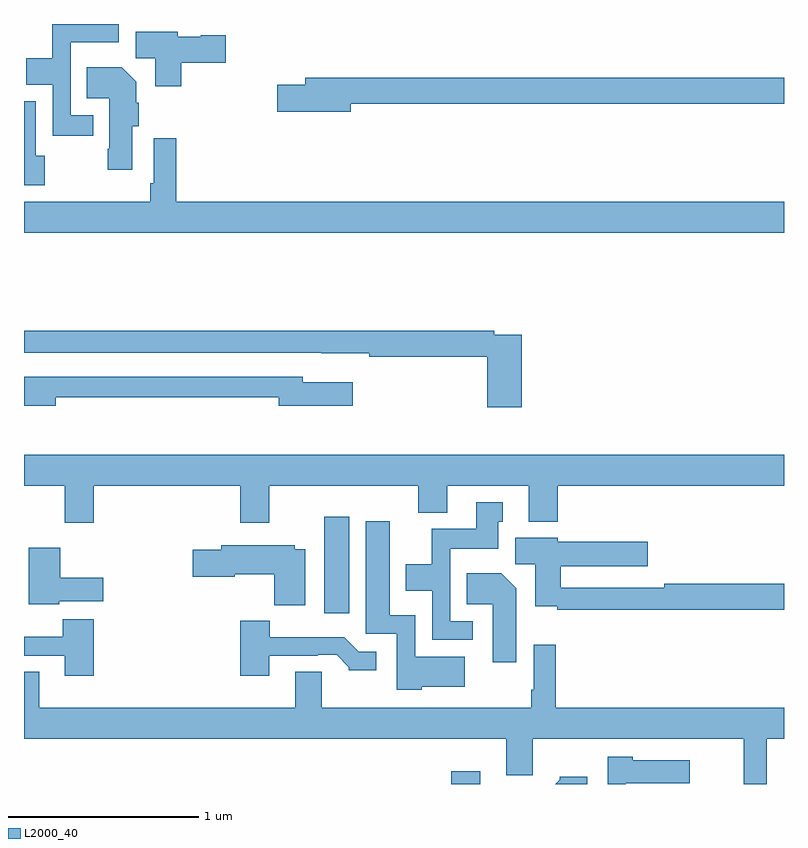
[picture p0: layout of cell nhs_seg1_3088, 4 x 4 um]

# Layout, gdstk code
import gdstk
lib = gdstk.Library(unit=1e-6, precision=1e-09)
def R(c, l, rs):  # rectangles x0, y0, x1, y1
    for r in rs: c.add(gdstk.rectangle(r[:2], r[2:], *l))
def P(c, l, *ps):  # polygons
    for p in ps: c.add(gdstk.Polygon(p, *l))
L2000_40 = (2000, 40)

nhs_seg1_3088 = lib.new_cell('nhs_seg1_3088')
R(nhs_seg1_3088, L2000_40, [(281.249,514.199,281.401,514.267), (280.58,515.097,280.711,515.605)])
P(nhs_seg1_3088, L2000_40, [(279.364,517.719),(279.246,517.719),(279.246,518.102),(279.499,518.102),(279.499,518.199),(279.148,518.199),(279.148,518.02),(279.011,518.02),(279.011,517.88),(279.15,517.88),(279.15,517.611),(279.364,517.611)],
  [(279.827,517.996),(280.063,517.996),(280.063,518.139),(279.93,518.139),(279.93,518.131),(279.81,518.131),(279.81,518.158),(279.587,518.158),(279.587,518.02),(279.692,518.02),(279.692,517.871),(279.827,517.871)],
  [(279.571,517.662),(279.605,517.662),(279.605,517.784),(279.592,517.784),(279.592,517.894),(279.514,517.972),(279.331,517.972),(279.331,517.808),(279.449,517.808),(279.449,517.543),(279.442,517.543),(279.442,517.431),(279.571,517.431)],
  [(280.72,517.78),(283,517.78),(283,517.916),(280.481,517.916),(280.481,517.88),(280.332,517.88),(280.332,517.738),(280.72,517.738)],
  [(279.108,517.506),(279.061,517.506),(279.061,517.792),(279,517.792),(279,517.35),(279.108,517.35)],
  [(283,517.264),(279.8,517.264),(279.8,517.597),(279.684,517.597),(279.684,517.36),(279.664,517.36),(279.664,517.264),(279,517.264),(279,517.1),(283,517.1)],
  [(281.621,516.564),(281.474,516.564),(281.474,516.584),(279,516.584),(279,516.468),(280.564,516.468),(280.564,516.467),(280.816,516.467),(280.816,516.448),(281.438,516.448),(281.438,516.183),(281.621,516.183)],
  [(279.166,516.234),(280.34,516.234),(280.34,516.191),(280.729,516.191),(280.729,516.313),(280.468,516.313),(280.468,516.342),(279,516.342),(279,516.191),(279.166,516.191)],
  [(279.368,515.768),(280.139,515.768),(280.139,515.574),(280.291,515.574),(280.291,515.768),(281.075,515.768),(281.075,515.627),(281.227,515.627),(281.227,515.768),(281.657,515.768),(281.657,515.579),(281.81,515.579),(281.81,515.768),(283,515.768),(283,515.932),(279,515.932),(279,515.768),(279.215,515.768),(279.215,515.574),(279.368,515.574)],
  [(281.362,515.055),(281.244,515.055),(281.244,515.438),(281.497,515.438),(281.497,515.58),(281.521,515.58),(281.521,515.683),(281.381,515.683),(281.381,515.542),(281.146,515.542),(281.146,515.356),(281.009,515.356),(281.009,515.216),(281.148,515.216),(281.148,514.959),(281.362,514.959)],
  [(281.094,514.712),(281.32,514.712),(281.32,514.87),(281.058,514.87),(281.058,515.086),(280.924,515.086),(280.924,515.581),(280.799,515.581),(280.799,514.989),(280.962,514.989),(280.962,514.694),(281.094,514.694)],
  [(283,515.252),(282.37,515.252),(282.37,515.232),(281.825,515.232),(281.825,515.345),(282.283,515.345),(282.283,515.475),(281.808,515.475),(281.808,515.494),(281.585,515.494),(281.585,515.356),(281.69,515.356),(281.69,515.135),(281.806,515.135),(281.806,515.116),(283,515.116)],
  [(280.48,515.434),(280.425,515.434),(280.425,515.455),(280.037,515.455),(280.037,515.433),(279.888,515.433),(279.888,515.291),(280.11,515.291),(280.11,515.303),(280.318,515.303),(280.318,515.141),(280.48,515.141)],
  [(279.186,515.162),(279.418,515.162),(279.418,515.284),(279.19,515.284),(279.19,515.443),(279.026,515.443),(279.026,515.144),(279.186,515.144)],
  [(281.59,515.23),(281.512,515.308),(281.329,515.308),(281.329,515.144),(281.468,515.144),(281.468,514.839),(281.59,514.839)],
  [(279.368,515.065),(279.203,515.065),(279.203,514.975),(279,514.975),(279,514.875),(279.215,514.875),(279.215,514.77),(279.368,514.77)],
  [(280.291,514.875),(280.547,514.875),(280.547,514.878),(280.646,514.878),(280.71,514.814),(280.71,514.799),(280.855,514.799),(280.855,514.896),(280.761,514.896),(280.685,514.972),(280.294,514.972),(280.294,515.059),(280.139,515.059),(280.139,514.77),(280.291,514.77)],
  [(282.908,514.436),(283,514.436),(283,514.6),(281.798,514.6),(281.798,514.933),(281.682,514.933),(281.682,514.696),(281.67,514.696),(281.67,514.6),(280.567,514.6),(280.567,514.79),(280.427,514.79),(280.427,514.6),(279.079,514.6),(279.079,514.79),(279,514.79),(279,514.436),(281.537,514.436),(281.537,514.246),(281.677,514.246),(281.677,514.436),(282.787,514.436),(282.787,514.199),(282.908,514.199)],
  [(282.168,514.202),(282.505,514.202),(282.505,514.324),(282.204,514.324),(282.204,514.342),(282.072,514.342),(282.072,514.199),(282.168,514.199)],
  [(281.965,514.237),(281.82,514.237),(281.82,514.222),(281.797,514.199),(281.965,514.199)])

lib.write_gds('nhs_seg1_3088.gds')
